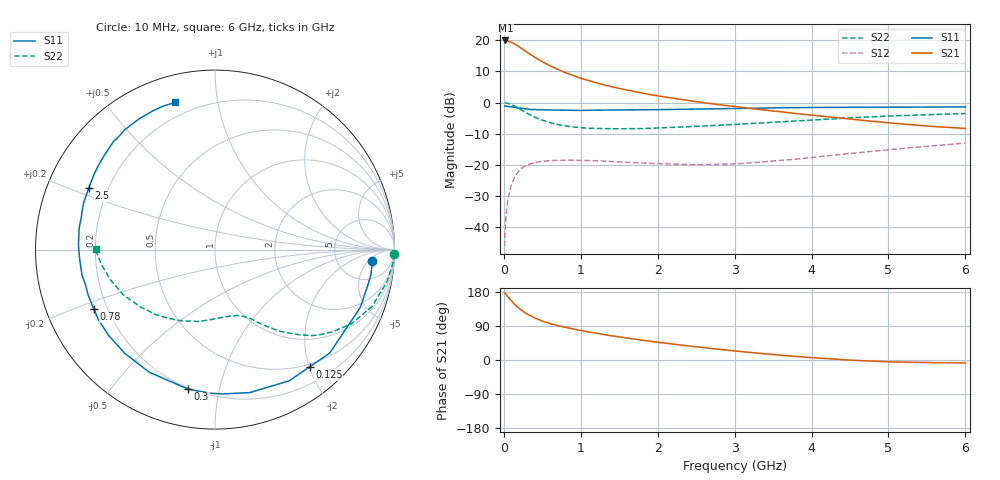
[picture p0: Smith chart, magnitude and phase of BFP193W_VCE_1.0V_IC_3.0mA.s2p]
! Infineon Technologies  Discrete & RF Semiconductors
! BFP193W
! VCE = 1.0 V,  IC =  3.0 mA
! Common Emitter S-Parameters:  Jan 2016
# GHz  S  MA  R  50
!  f  S11  S21  S12  S22
! GHz  MAG  ANG  MAG  ANG  MAG  ANG  MAG  ANG
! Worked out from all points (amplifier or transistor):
!   210 points, 10 MHz to 6 GHz, reference 50 ohm
!   highest |S21| = 20.0 dB at 20 MHz (marker M1)
!   |S21| within 3 dB of that: start of sweep to 256 MHz
!   unconditionally stable (mu >= 1): 1.854 GHz to end of sweep
!   at 185 MHz: K = 0.11, MSG = 20.3 dB, |S12| = -22.4 dB
!   at 1.52 GHz: K = 0.81, MSG = 11.8 dB, |S12| = -19.1 dB
!   at 6 GHz: K = 1.05, MAG = 0.9 dB, |S12| = -13.1 dB
!   S11 on the Smith chart (normalised r, x): 10 MHz: 12, -7; 125 MHz: 0.45, -2.01; 300 MHz: 0.19, -0.81; 780 MHz: 0.15, -0.23; 2.5 GHz: 0.13, +0.23; 6 GHz: 0.13, +0.76
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0.01  0.8787 -4.3  9.916 176.7  0.0049 86.8  0.999 -1.4
0.02  0.8802 -8.8  9.975 175.0  0.0106 84.9  0.9938 -4.4
0.05  0.8714 -21.7  9.83 167.5  0.0258 78.1  0.9748 -10.6
0.1  0.8609 -42.0  9.325 155.6  0.048 67.7  0.9301 -20.0
0.125  0.8393 -51.1  8.947 150.3  0.0571 62.1  0.8954 -24.1
0.15  0.8399 -60.5  8.651 144.6  0.0665 58.1  0.8657 -28.5
0.2  0.82 -76.3  7.874 135.6  0.0805 50.3  0.7966 -35.2
0.24  0.8053 -86.9  7.287 129.6  0.0889 44.9  0.7457 -39.7
0.3  0.7916 -100.9  6.453 121.4  0.0988 38.5  0.6738 -44.9
0.4  0.775 -118.2  5.365 110.9  0.1084 30.2  0.5827 -51.4
0.5  0.7658 -131.1  4.531 102.7  0.1137 24.7  0.5198 -55.7
0.6  0.7616 -141.0  3.895 96.2  0.1166 20.4  0.4747 -59.3
0.7  0.758 -148.8  3.426 90.8  0.1176 17.5  0.4422 -61.7
0.78  0.7521 -153.8  3.104 87.1  0.1182 15.5  0.4249 -63.8
1.02  0.7488 -165.8  2.418 77.0  0.1174 11.3  0.3925 -69.9
1.4  0.7587 -179.3  1.798 63.8  0.1131 8.2  0.3806 -78.8
2.02  0.7702 164.2  1.269 46.3  0.104 10.5  0.3916 -93.8
2.5  0.7824 153.9  1.034 34.8  0.1002 16.1  0.4148 -105.8
3.1  0.804 142.3  0.833 21.9  0.1051 25.6  0.4516 -120.5
4.1  0.8362 125.7  0.61 5.0  0.1351 36.0  0.5307 -144.8
5.1  0.847 113.4  0.461 -5.2  0.1789 36.7  0.6121 -165.8
6  0.8501 105.1  0.383 -7.7  0.2225 33.4  0.6656 179.9
